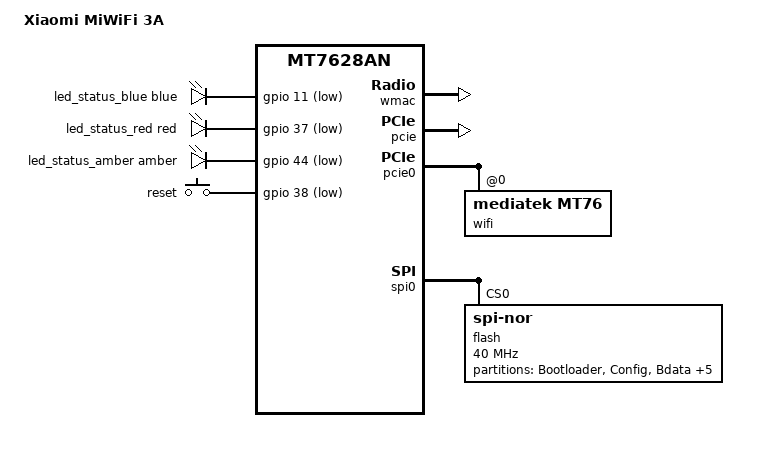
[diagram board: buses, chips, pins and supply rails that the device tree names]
// SPDX-License-Identifier: GPL-2.0-or-later OR MIT

#include "mt7628an.dtsi"

#include <dt-bindings/gpio/gpio.h>
#include <dt-bindings/input/input.h>
#include <dt-bindings/leds/common.h>

/ {
	compatible = "xiaomi,miwifi-3a", "mediatek,mt7628an-soc";
	model = "Xiaomi MiWiFi 3A";

	aliases {
		led-boot = &led_status_amber;
		led-failsafe = &led_status_red;
		led-running = &led_status_blue;
		led-upgrade = &led_status_amber;
		label-mac-device = &ethernet;
	};

	chosen {
		bootargs = "console=ttyS0,115200";
	};

	leds {
		compatible = "gpio-leds";

		led_status_blue: status_blue {
			function = LED_FUNCTION_STATUS;
			color = <LED_COLOR_ID_BLUE>;
			gpios = <&gpio 11 GPIO_ACTIVE_LOW>;
		};

		led_status_red: status_red {
			function = LED_FUNCTION_STATUS;
			color = <LED_COLOR_ID_RED>;
			gpios = <&gpio 37 GPIO_ACTIVE_LOW>;
		};

		led_status_amber: status_amber {
			function = LED_FUNCTION_STATUS;
			color = <LED_COLOR_ID_AMBER>;
			gpios = <&gpio 44 GPIO_ACTIVE_LOW>;
		};
	};

	keys {
		compatible = "gpio-keys";

		reset {
			label = "reset";
			gpios = <&gpio 38 GPIO_ACTIVE_LOW>;
			linux,code = <KEY_RESTART>;
		};
	};
};

&state_default {
	gpio {
		groups = "gpio", "refclk", "wdt", "wled_an";
		function = "gpio";
	};
};

&ehci {
	status = "disabled";
};

&ohci {
	status = "disabled";
};

&esw {
	mediatek,portmap = <0x3e>;
	mediatek,portdisable = <0x2a>;
};

&wmac {
	status = "okay";
	nvmem-cells = <&eeprom_factory_0>;
	nvmem-cell-names = "eeprom";
};

&pcie {
	status = "okay";
};

&pcie0 {
	wifi@0,0 {
		compatible = "mediatek,mt76";
		reg = <0x0000 0 0 0 0>;
		nvmem-cells = <&eeprom_factory_8000>;
		nvmem-cell-names = "eeprom";
		ieee80211-freq-limit = <5000000 6000000>;
	};
};

&ethernet {
	nvmem-cells = <&macaddr_factory_28>;
	nvmem-cell-names = "mac-address";
};

&spi0 {
	status = "okay";

	flash@0 {
		compatible = "jedec,spi-nor";
		reg = <0>;
		spi-max-frequency = <40000000>;

		partitions {
			compatible = "fixed-partitions";
			#address-cells = <1>;
			#size-cells = <1>;

			partition@0 {
				label = "Bootloader";
				reg = <0x0 0x30000>;
				read-only;
			};

			partition@30000 {
				label = "Config";
				reg = <0x30000 0x10000>;
			};

			partition@40000 {
				label = "Bdata";
				reg = <0x40000 0x10000>;
				read-only;
			};

			partition@50000 {
				label = "factory";
				reg = <0x50000 0x10000>;
				read-only;

				nvmem-layout {
					compatible = "fixed-layout";
					#address-cells = <1>;
					#size-cells = <1>;

					eeprom_factory_0: eeprom@0 {
						reg = <0x0 0x400>;
					};

					eeprom_factory_8000: eeprom@8000 {
						reg = <0x8000 0x200>;
					};

					macaddr_factory_4: macaddr@4 {
						reg = <0x4 0x6>;
					};

					macaddr_factory_28: macaddr@28 {
						reg = <0x28 0x6>;
					};

					macaddr_factory_8004: macaddr@8004 {
						reg = <0x8004 0x6>;
					};
				};
			};

			partition@60000 {
				label = "crash";
				reg = <0x60000 0x10000>;
				read-only;
			};

			partition@70000 {
				label = "crash_syslog";
				reg = <0x70000 0x10000>;
				read-only;
			};

			partition@80000 {
				label = "overlay";
				reg = <0x80000 0x100000>;
				read-only;
			};

			partition@180000 {
				label = "firmware";
				compatible = "denx,uimage";
				reg = <0x180000 0xe80000>;
			};
		};
	};
};
